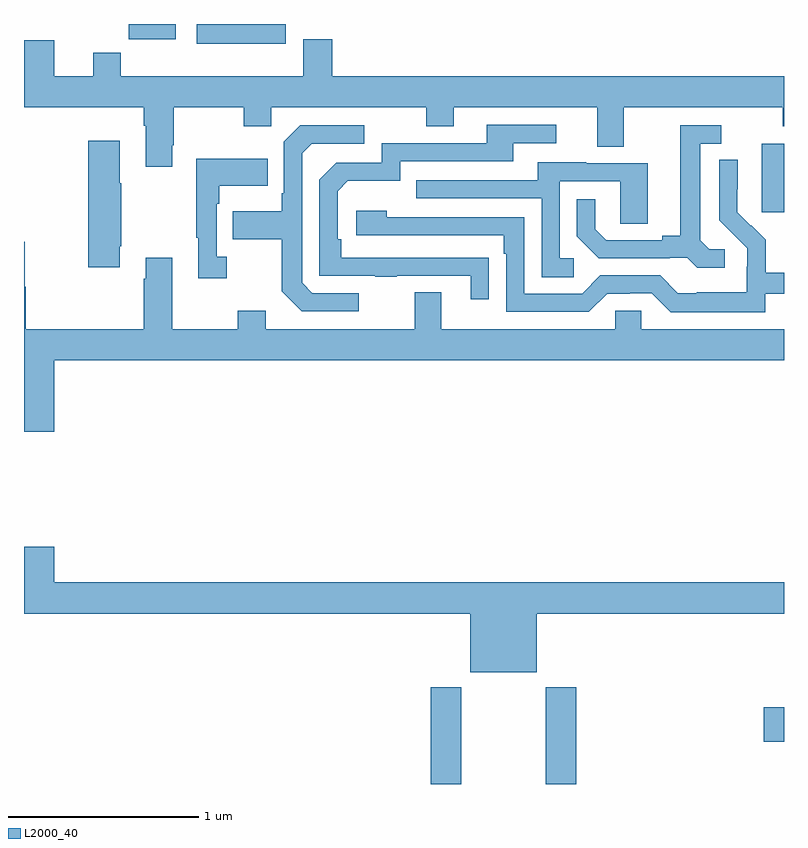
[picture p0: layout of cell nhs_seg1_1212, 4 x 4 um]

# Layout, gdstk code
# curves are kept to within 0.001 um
import gdstk
lib = gdstk.Library(unit=1e-6, precision=1e-09)
def R(c, l, rs):  # rectangles x0, y0, x1, y1
    for r in rs: c.add(gdstk.rectangle(r[:2], r[2:], *l))
def P(c, l, *ps):  # polygons
    for p in ps: c.add(gdstk.Polygon(p, *l))
L2000_40 = (2000, 40)

nhs_seg1_1212 = lib.new_cell('nhs_seg1_1212')
R(nhs_seg1_1212, L2000_40, [(179.141,520.199,179.301,520.708), (179.746,520.199,179.906,520.708), (180.894,520.421,181,520.604), (180.884,523.209,181,523.57), (177.909,524.096,178.378,524.199), (177.55,524.118,177.799,524.199)])
P(nhs_seg1_1212, L2000_40, [(177.781,523.561),(177.789,523.561),(177.789,523.76),(178.156,523.76),(178.156,523.661),(178.302,523.661),(178.302,523.76),(179.116,523.76),(179.116,523.661),(179.263,523.661),(179.263,523.76),(180.017,523.76),(180.017,523.552),(180.157,523.552),(180.157,523.76),(180.994,523.76),(180.994,523.661),(181,523.661),(181,523.924),(178.622,523.924),(178.622,524.119),(178.469,524.119),(178.469,523.924),(177.509,523.924),(177.509,524.048),(177.365,524.048),(177.365,523.924),(177.16,523.924),(177.16,524.113),(177,524.113),(177,523.76),(177.629,523.76),(177.629,523.664),(177.641,523.664),(177.641,523.449),(177.781,523.449)],
  [(179.447,522.968),(178.67,522.969),(178.67,523.066),(178.65,523.066),(178.65,523.32),(178.703,523.373),(178.98,523.373),(178.98,523.476),(179.575,523.476),(179.575,523.572),(179.8,523.572),(179.8,523.668),(179.435,523.668),(179.435,523.572),(178.884,523.572),(178.884,523.47),(178.644,523.47),(178.554,523.38),(178.554,522.873),(178.849,522.873),(178.849,522.868),(178.961,522.868),(178.961,522.873),(179.351,522.873),(179.351,522.75),(179.447,522.75)],
  [(178.762,522.783),(178.518,522.783),(178.464,522.837),(178.464,523.518),(178.515,523.569),(178.792,523.569),(178.792,523.665),(178.455,523.665),(178.368,523.578),(178.368,523.309),(178.356,523.309),(178.356,523.213),(178.099,523.213),(178.099,523.066),(178.356,523.066),(178.356,522.793),(178.461,522.687),(178.762,522.687)],
  [(180.688,523.014),(180.606,523.014),(180.559,523.061),(180.559,523.569),(180.67,523.569),(180.67,523.665),(180.455,523.665),(180.455,523.085),(180.359,523.085),(180.359,523.062),(180.064,523.062),(180.007,523.119),(180.007,523.276),(179.91,523.276),(179.91,523.082),(180.026,522.966),(180.398,522.966),(180.398,522.969),(180.492,522.969),(180.544,522.917),(180.688,522.917)],
  [(177.505,523.03),(177.513,523.03),(177.513,523.361),(177.505,523.361),(177.505,523.585),(177.338,523.585),(177.338,522.918),(177.505,522.918)],
  [(178.066,522.974),(178.014,522.974),(178.014,523.253),(178.027,523.253),(178.027,523.349),(178.283,523.349),(178.283,523.489),(177.906,523.489),(177.906,523.073),(177.917,523.073),(177.917,522.861),(178.066,522.861)],
  [(180.9,522.78),(181,522.78),(181,522.889),(180.905,522.889),(180.905,523.063),(180.828,523.14),(180.825,523.137),(180.755,523.208),(180.756,523.484),(180.66,523.484),(180.66,523.166),(180.806,523.018),(180.806,522.921),(180.804,522.921),(180.804,522.787),(180.541,522.787),(180.541,522.783),(180.441,522.783),(180.348,522.876),(180.033,522.876),(179.937,522.78),(179.634,522.78),(179.634,523.182),(178.91,523.182),(178.91,523.216),(178.749,523.216),(178.749,523.086),(179.525,523.086),(179.525,522.989),(179.538,522.989),(179.538,522.684),(179.973,522.684),(180.069,522.78),(180.188,522.78),(180.188,522.783),(180.303,522.783),(180.403,522.683),(180.9,522.683)],
  [(179.893,522.966),(179.82,522.966),(179.82,523.371),(180.138,523.371),(180.138,523.147),(180.283,523.147),(180.283,523.467),(179.959,523.467),(179.959,523.471),(179.705,523.471),(179.705,523.377),(179.065,523.377),(179.065,523.281),(179.724,523.281),(179.724,522.865),(179.893,522.865)],
  [(177.16,522.428),(181,522.428),(181,522.592),(180.249,522.592),(180.249,522.69),(180.111,522.69),(180.111,522.592),(179.197,522.592),(179.197,522.787),(179.057,522.787),(179.057,522.592),(178.273,522.592),(178.273,522.691),(178.126,522.691),(178.126,522.592),(177.781,522.592),(177.781,522.97),(177.641,522.97),(177.641,522.857),(177.629,522.857),(177.629,522.592),(177.008,522.592),(177.008,522.815),(177.003,522.815),(177.003,523.054),(177,523.054),(177,522.054),(177.16,522.054)],
  [(179.698,521.096),(181,521.096),(181,521.26),(177.16,521.26),(177.16,521.449),(177,521.449),(177,521.096),(179.348,521.096),(179.348,520.787),(179.698,520.787)])

lib.write_gds('nhs_seg1_1212.gds')
